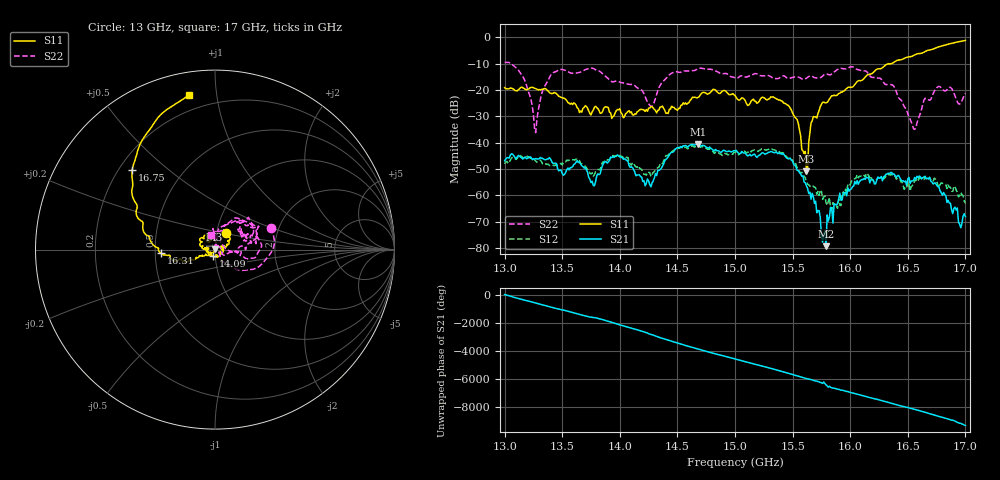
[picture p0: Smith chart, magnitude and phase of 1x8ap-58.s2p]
!Keysight Technologies,P9374A,MY57211807,A.19.30.04
!Date: Friday, May 08, 2026 15:46:57
!Correction: S11(C  2-Port  )
!S21(C  2-Port  )
!S12(C  2-Port  )
!S22(C  2-Port  )
!S2P File: Measurements: S11, S21, S12, S22:
# Hz S  dB  R 50
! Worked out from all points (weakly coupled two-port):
!   401 points, 13 GHz to 17 GHz, reference 50 ohm
!   highest |S21| = -40.48 dB at 14.68 GHz (marker M1); lowest = -79.3 dB at 15.79 GHz (marker M2)
!   lowest |S11| = -50.8 dB at 15.62 GHz (marker M3), VSWR 1.01, Z = 49.7 + j0.0966 ohm
!   |S11| at or under -10 dB: start of sweep to 16.33 GHz; 16.33092 GHz to 16.35219 GHz (21.27 MHz wide, 0.13 % of centre)
!   |S22| runs from -36.2 to -9.5 dB; largest |S21 - S12| = 0.0022
!   S11 on the Smith chart (normalised r, x): 13 GHz: 1.11, +0.21; 14.09 GHz: 0.98, -0.07; 16.31 GHz: 0.54, -0.02; 16.75 GHz: 0.25, +0.38; 17 GHz: 0.12, +0.84
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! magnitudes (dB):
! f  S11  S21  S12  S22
! 13 GHz  -19.1  -46.9  -48.1  -9.5
! 13.16 GHz  -19.2  -46.2  -45.8  -15.1
! 13.27 GHz  -19.5  -46.0  -47.0  -36.2
! 13.41 GHz  -21.4  -47.3  -48.6  -13.8
! 13.67 GHz  -28.4  -48.8  -48.0  -13.0
! 13.77 GHz  -27.6  -56.3  -52.7  -11.8
! 13.94 GHz  -30.1  -45.2  -44.8  -16.9
! 14.09 GHz  -28.6  -49.4  -48.1  -17.9
! 14.27 GHz  -26.4  -56.7  -52.9  -26.2
! 14.34 GHz  -27.6  -50.5  -49.3  -19.1
! 14.68 GHz  -22.8  -40.5  -41.3  -11.9
! 15 GHz  -22.1  -43.1  -43.7  -15.4
! 15.46 GHz  -25.8  -46.1  -46.0  -15.6
! 15.62 GHz  -50.8  -56.4  -54.8  -15.5
! 15.67 GHz  -31.8  -59.3  -56.2  -14.8
! 15.79 GHz  -24.8  -79.3  -62.9  -13.9
! 16.04 GHz  -17.9  -54.7  -53.8  -11.7
! 16.31 GHz  -10.4  -52.0  -52.7  -17.9
! 16.34 GHz  -10.1  -51.9  -52.1  -17.9
! 16.56 GHz  -6.7  -53.2  -54.3  -34.9
! 16.75 GHz  -3.9  -56.0  -54.5  -19.2
! 17 GHz  -1.2  -68.1  -63.1  -21.3
